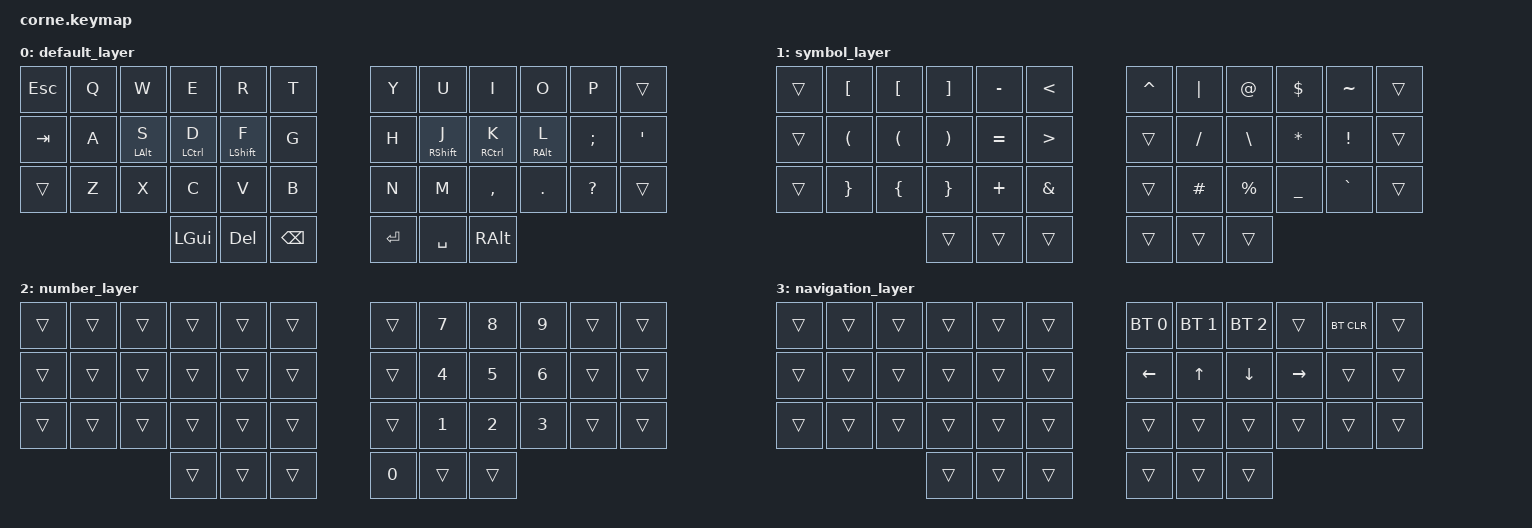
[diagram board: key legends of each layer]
/*
 * Copyright (c) 2020 The ZMK Contributors
 *
 * SPDX-License-Identifier: MIT
 */

#include <behaviors.dtsi>
#include <dt-bindings/zmk/keys.h>
#include <dt-bindings/zmk/bt.h>
/ {
    combos {
        compatible = "zmk,combos";
        combo_layer_l {
            timeout-ms = <50>;
            key-positions = <15 16>;
            bindings = <&mo 1>;
            slow-release;
        };
        combo_layer_r {
            timeout-ms = <50>;
            key-positions = <19 20>;
            bindings = <&mo 1>;
            slow-release;
        };
        combo_layer_kp {
            timeout-ms = <50>;
            key-positions = <14 15>;
            bindings = <&mo 2>;
            slow-release;
        };
        combo_layer_nav {
            timeout-ms = <50>;
            key-positions = <3 4>;
            bindings = <&mo 3>;
            slow-release;
        };
    };
};

/ {
        behaviors {
            lh_pht: left_positional_hold_tap {
                compatible = "zmk,behavior-hold-tap";
                #binding-cells = <2>;
                flavor = "balanced";
                tapping-term-ms = <280>;                        // <---[[produces tap if held longer than tapping-term-ms]]
                quick-tap-ms = <175>;
                require-prior-idle-ms = <150>;
                bindings = <&kp>, <&kp>;
                hold-trigger-key-positions = <6 7 8 9 10 18 19 20 21 22 23 30 31 32 33 34>;    // <---[[right-hand keys]]
                hold-trigger-on-release;
            };

            rh_pht: right_positional_hold_tap {
                compatible = "zmk,behavior-hold-tap";
                #binding-cells = <2>;
                flavor = "balanced";
                tapping-term-ms = <280>;                        // <---[[produces tap if held longer than tapping-term-ms]]
                quick-tap-ms = <175>;
                require-prior-idle-ms = <150>;
                bindings = <&kp>, <&kp>;
                hold-trigger-key-positions = <1 2 3 4 5 12 13 14 16 17 25 26 27 28 29>;    // <---[[right-hand keys]]
                hold-trigger-on-release;
            };
        };
        

        keymap {
                compatible = "zmk,keymap";
                default_layer {
// -----------------------------------------------------------------------------------------
// |  TAB |  Q  |  W  |  E  |  R  |  T  |   |  Y  |  U   |  I  |  O  |  P  | BSPC |
// | CTRL |  A  |  S  |  D  |  F  |  G  |   |  H  |  J   |  K  |  L  |  ;  |  '   |
// | SHFT |  Z  |  X  |  C  |  V  |  B  |   |  N  |  M   |  ,  |  .  |  /  | ESC  |
//                    | GUI | LWR | SPC |   | ENT | RSE  | ALT |
                        bindings = <
   &kp ESC   &kp Q &kp W &kp E &kp R     &kp T                      &kp Y  &kp U   &kp I   &kp O   &kp P    &trans
   &kp TAB   &kp A &lh_pht LALT S &lh_pht LCTRL D &lh_pht LSHFT F &kp G      &kp H  &rh_pht RSHFT J  &rh_pht RCTRL K &rh_pht RALT L   &kp SEMI  &kp SQT
   &trans    &kp Z &kp X &kp C &kp V     &kp B                      &kp N  &kp M  &kp COMMA &kp DOT   &kp QMARK &trans
                 &kp LGUI &kp DEL &kp BSPC                          &kp RET &kp SPACE  &kp RALT
                        >;
                };
                symbol_layer {
// -----------------------------------------------------------------------------------------
// |  TAB |  1  |  2  |  3  |  4  |  5  |   |  6  |  7  |  8  |  9  |  0  | BSPC |
// | BTCLR| BT1 | BT2 | BT3 | BT4 | BT5 |   | LFT | DWN |  UP | RGT |     |      |
// | SHFT |     |     |     |     |     |   |     |     |     |     |     |      |
//                    | GUI |     | SPC |   | ENT |     | ALT |
                        bindings = <
   &trans  &kp LBKT    &kp LBKT     &kp RBKT     &kp MINUS  &kp LT       &kp CARET   &kp PIPE   &kp AT       &kp DLLR    &kp TILDE   &trans
   &trans  &kp LPAR    &kp LPAR     &kp RPAR     &kp EQUAL  &kp GT       &trans      &kp FSLH   &kp BSLH     &kp STAR    &kp EXCL    &trans
   &trans  &kp RBRC    &kp LBRC     &kp RBRC     &kp PLUS   &kp AMPS     &trans      &kp HASH   &kp PERCENT  &kp UNDER   &kp GRAVE   &trans
                           &trans    &trans      &trans                  &trans      &trans     &trans
                        >;
                };
                number_layer {
// -----------------------------------------------------------------------------------------
// |  TAB |  Q  |  W  |  E  |  R  |  T  |   |  Y  |  U   |  I  |  O  |  P  | BSPC |
// | CTRL |  A  |  S  |  D  |  F  |  G  |   |  H  |  J   |  K  |  L  |  ;  |  '   |
// | SHFT |  Z  |  X  |  C  |  V  |  B  |   |  N  |  M   |  ,  |  .  |  /  | ESC  |
//                    | GUI | LWR | SPC |   | ENT | RSE  | ALT |
                        bindings = <
   &trans &trans &trans &trans &trans &trans   &trans &kp N7 &kp N8  &kp N9 &trans &trans
   &trans &trans &trans &trans &trans &trans   &trans &kp N4 &kp N5  &kp N6 &trans &trans
   &trans &trans &trans &trans &trans &trans   &trans &kp N1 &kp N2  &kp N3 &trans &trans
                        &trans &trans &trans   &kp N0 &trans &trans
                        >;
                };

                navigation_layer {
                    bindings = <
    &trans &trans &trans &trans &trans &trans   &bt BT_SEL 0 &bt BT_SEL 1   &bt BT_SEL 2   &trans  &bt BT_CLR &trans
    &trans &trans &trans &trans &trans &trans   &kp LEFT &kp UP &kp DOWN &kp RIGHT &trans &trans
    &trans &trans &trans &trans &trans &trans   &trans &trans   &trans   &trans    &trans &trans
                         &trans &trans &trans   &trans &trans   &trans
                         >;
                };
        };
};

